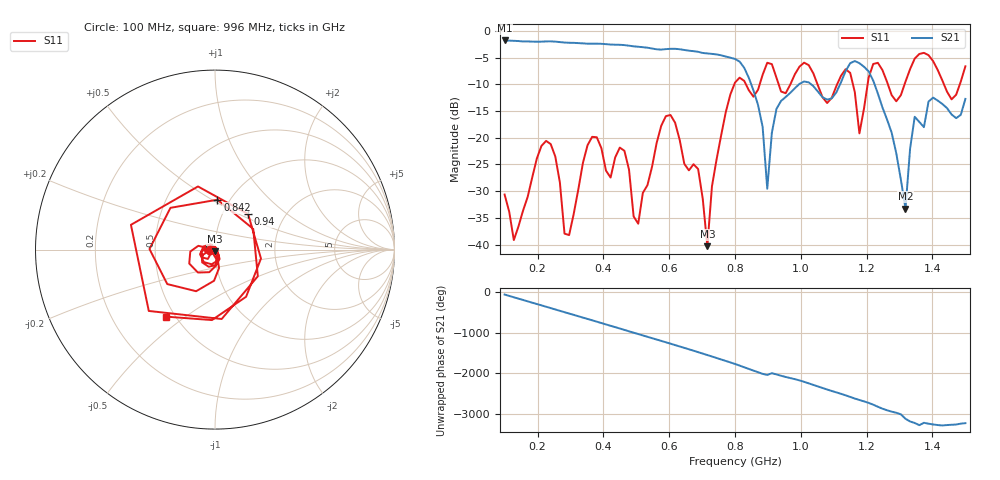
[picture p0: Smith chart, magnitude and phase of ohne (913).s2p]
! NanoVNA-App
! Date: 2025-09-25 14:27:54
! Start: 100MHz Stop: 1,5GHz Points: 101
! S-Parameter data: F S11 S21 S12 S22
# Hz S RI R 50
!  Frequency  S11_Real  S11_Imag  S21_Real  S21_Imag  S12_Real  S12_Imag  S22_Real  S22_Imag
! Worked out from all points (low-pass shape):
!   101 points, 100 MHz to 1.5 GHz, reference 50 ohm
!   highest |S21| = -1.79 dB at 100 MHz (marker M1); lowest = -33.3 dB at 1.318 GHz (marker M2)
!   |S21| within 3 dB of the highest: start of sweep to 771.3 MHz
!   lowest |S11| = -40.3 dB at 716 MHz (marker M3), VSWR 1.02, Z = 49.7 - j0.929 ohm
!   |S11| at or under -10 dB: start of sweep to 798 MHz; 833.1 MHz to 875.1 MHz (41.99 MHz wide, 4.92 % of centre); 1.051 GHz to 1.11 GHz (59.68 MHz wide, 5.52 % of centre)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
!   S12 and S22 are empty: the file has one direction only
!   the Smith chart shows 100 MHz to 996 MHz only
!   S11 on the Smith chart (normalised r, x): 100 MHz: 0.94, -0.01; 842 MHz: 0.88, +0.53; 940 MHz: 1.32, +0.56; 996 MHz: 0.45, -0.42
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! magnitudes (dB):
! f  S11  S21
! 100 MHz  -30.6  -1.8
! 128 MHz  -39.2  -1.9
! 226 MHz  -20.6  -2.0
! 296 MHz  -38.2  -2.2
! 338 MHz  -24.7  -2.3
! 464 MHz  -22.4  -2.7
! 506 MHz  -36.1  -3.0
! 576 MHz  -17.7  -3.5
! 688 MHz  -25.9  -3.9
! 716 MHz  -40.3  -4.2
! 800 MHz  -9.7  -5.3
! 842 MHz  -11.1  -8.8
! 898 MHz  -6.0  -29.5
! 940 MHz  -11.4  -13.1
! 996 MHz  -6.7  -9.9
! 1.038 GHz  -7.9  -10.3
! 1.178 GHz  -19.2  -6.0
! 1.22 GHz  -6.2  -9.3
! 1.276 GHz  -12.0  -19.1
! 1.318 GHz  -9.5  -33.3
! 1.346 GHz  -5.2  -16.1
! 1.5 GHz  -6.6  -12.7
